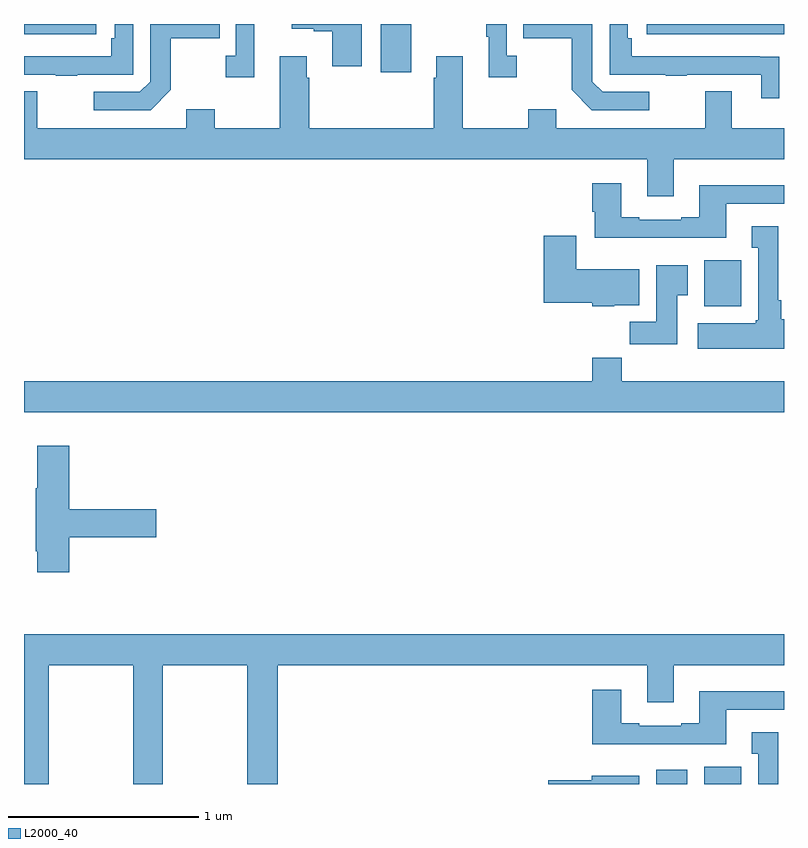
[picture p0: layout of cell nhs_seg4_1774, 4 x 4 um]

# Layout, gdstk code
import gdstk
lib = gdstk.Library(unit=1e-6, precision=1e-09)
def R(c, l, rs):  # rectangles x0, y0, x1, y1
    for r in rs: c.add(gdstk.rectangle(r[:2], r[2:], *l))
def P(c, l, *ps):  # polygons
    for p in ps: c.add(gdstk.Polygon(p, *l))
L2000_40 = (2000, 40)

nhs_seg4_1774 = lib.new_cell('nhs_seg4_1774')
R(nhs_seg4_1774, L2000_40, [(206.327,758.9,206.491,758.974), (206.579,758.9,206.776,758.992), (206.579,761.414,206.776,761.656), (204.878,762.645,205.039,762.9), (203,762.846,203.38,762.9), (206.277,762.846,207,762.9)])
P(nhs_seg4_1774, L2000_40, [(203.279,762.633),(203.574,762.633),(203.574,762.9),(203.478,762.9),(203.478,762.826),(203.458,762.826),(203.458,762.729),(203,762.729),(203,762.633),(203.167,762.633),(203.167,762.628),(203.279,762.628)],
  [(206.975,762.728),(206.873,762.728),(206.873,762.729),(206.198,762.729),(206.198,762.826),(206.178,762.826),(206.178,762.9),(206.082,762.9),(206.082,762.633),(206.377,762.633),(206.377,762.628),(206.489,762.628),(206.489,762.633),(206.879,762.633),(206.879,762.51),(206.975,762.51)],
  [(204.212,762.9),(204.114,762.9),(204.114,762.734),(204.063,762.734),(204.063,762.621),(204.212,762.621)],
  [(203.773,762.553),(203.773,762.826),(204.029,762.826),(204.029,762.9),(203.664,762.9),(203.664,762.597),(203.61,762.543),(203.367,762.543),(203.367,762.447),(203.667,762.447)],
  [(204.778,762.9),(204.408,762.9),(204.408,762.875),(204.524,762.875),(204.524,762.863),(204.623,762.863),(204.623,762.678),(204.778,762.678)],
  [(205.594,762.734),(205.542,762.734),(205.542,762.9),(205.434,762.9),(205.434,762.833),(205.445,762.833),(205.445,762.621),(205.594,762.621)],
  [(206.29,762.543),(206.046,762.543),(205.992,762.597),(205.992,762.9),(205.627,762.9),(205.627,762.826),(205.884,762.826),(205.884,762.553),(205.989,762.447),(206.29,762.447)],
  [(205.169,762.73),(205.169,762.617),(205.157,762.617),(205.157,762.352),(204.5,762.352),(204.5,762.617),(204.487,762.617),(204.487,762.73),(204.347,762.73),(204.347,762.352),(204.003,762.352),(204.003,762.451),(203.855,762.451),(203.855,762.352),(203.071,762.352),(203.071,762.547),(203,762.547),(203,762.188),(206.279,762.188),(206.279,761.994),(206.419,761.994),(206.419,762.188),(207,762.188),(207,762.352),(206.725,762.352),(206.725,762.547),(206.585,762.547),(206.585,762.352),(205.801,762.352),(205.801,762.451),(205.654,762.451),(205.654,762.352),(205.309,762.352),(205.309,762.73)],
  [(206.695,761.955),(207,761.955),(207,762.052),(206.555,762.052),(206.555,761.884),(206.459,761.884),(206.459,761.871),(206.239,761.871),(206.239,761.884),(206.143,761.884),(206.143,762.061),(205.991,762.061),(205.991,761.913),(206.003,761.913),(206.003,761.774),(206.695,761.774)],
  [(207,761.346),(206.986,761.346),(206.986,761.446),(206.971,761.446),(206.971,761.836),(206.831,761.836),(206.831,761.723),(206.864,761.723),(206.864,761.34),(206.851,761.34),(206.851,761.326),(206.547,761.326),(206.547,761.192),(207,761.192)],
  [(206.106,761.42),(206.239,761.42),(206.239,761.608),(205.906,761.608),(205.906,761.785),(205.736,761.785),(205.736,761.432),(205.992,761.432),(205.992,761.414),(206.106,761.414)],
  [(206.437,761.473),(206.494,761.473),(206.494,761.629),(206.327,761.629),(206.327,761.332),(206.188,761.332),(206.188,761.214),(206.437,761.214)],
  [(207,761.02),(206.147,761.02),(206.147,761.144),(205.991,761.144),(205.991,761.02),(203,761.02),(203,760.856),(207,760.856)],
  [(203.237,760.199),(203.695,760.199),(203.695,760.346),(203.237,760.346),(203.237,760.681),(203.069,760.681),(203.069,760.457),(203.062,760.457),(203.062,760.126),(203.069,760.126),(203.069,760.014),(203.237,760.014)],
  [(203.13,759.524),(203.575,759.524),(203.575,758.9),(203.73,758.9),(203.73,759.524),(204.175,759.524),(204.175,758.9),(204.335,758.9),(204.335,759.524),(206.279,759.524),(206.279,759.33),(206.419,759.33),(206.419,759.524),(207,759.524),(207,759.688),(203,759.688),(203,758.9),(203.13,758.9)],
  [(206.695,759.291),(207,759.291),(207,759.388),(206.555,759.388),(206.555,759.22),(206.459,759.22),(206.459,759.207),(206.239,759.207),(206.239,759.22),(206.143,759.22),(206.143,759.397),(205.991,759.397),(205.991,759.11),(206.695,759.11)],
  [(206.971,759.172),(206.831,759.172),(206.831,759.059),(206.864,759.059),(206.864,758.9),(206.971,758.9)],
  [(206.239,758.944),(205.988,758.944),(205.988,758.921),(205.758,758.921),(205.758,758.9),(206.239,758.9)])

lib.write_gds('nhs_seg4_1774.gds')
